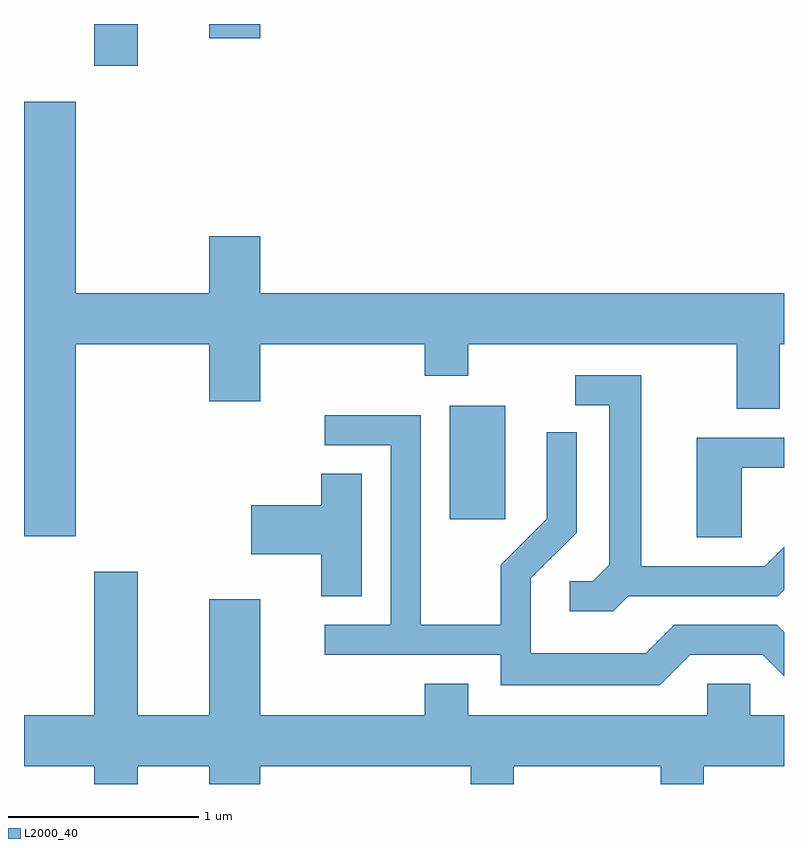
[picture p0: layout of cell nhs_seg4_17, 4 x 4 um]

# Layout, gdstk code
import gdstk
lib = gdstk.Library(unit=1e-6, precision=1e-09)
def R(c, l, rs):  # rectangles x0, y0, x1, y1
    for r in rs: c.add(gdstk.rectangle(r[:2], r[2:], *l))
def P(c, l, *ps):  # polygons
    for p in ps: c.add(gdstk.Polygon(p, *l))
L2000_40 = (2000, 40)

nhs_seg4_17 = lib.new_cell('nhs_seg4_17')
R(nhs_seg4_17, L2000_40, [(187.851,1289.376,188.144,1289.974), (185.981,1291.761,186.209,1291.982), (186.586,1291.906,186.854,1291.982)])
P(nhs_seg4_17, L2000_40, [(185.884,1290.296),(186.586,1290.296),(186.586,1289.996),(186.854,1289.996),(186.854,1290.296),(187.721,1290.296),(187.721,1290.131),(187.949,1290.131),(187.949,1290.296),(189.361,1290.296),(189.361,1289.956),(189.589,1289.956),(189.589,1290.296),(189.611,1290.296),(189.611,1290.564),(186.854,1290.564),(186.854,1290.864),(186.586,1290.864),(186.586,1290.564),(185.884,1290.564),(185.884,1291.574),(185.611,1291.574),(185.611,1289.286),(185.884,1289.286)],
  [(188.792,1288.971),(189.577,1288.971),(189.611,1289.005),(189.611,1289.232),(189.509,1289.129),(188.859,1289.129),(188.859,1290.134),(188.513,1290.134),(188.513,1289.976),(188.691,1289.976),(188.691,1289.137),(188.604,1289.049),(188.483,1289.049),(188.483,1288.891),(188.712,1288.891)],
  [(189.117,1288.661),(189.499,1288.661),(189.611,1288.549),(189.611,1288.78),(189.572,1288.819),(189.034,1288.819),(188.884,1288.669),(188.279,1288.669),(188.279,1289.064),(188.519,1289.304),(188.519,1289.833),(188.361,1289.833),(188.361,1289.377),(188.121,1289.137),(188.121,1288.819),(187.699,1288.819),(187.699,1289.924),(187.193,1289.924),(187.193,1289.766),(187.541,1289.766),(187.541,1288.819),(187.193,1288.819),(187.193,1288.661),(188.121,1288.661),(188.121,1288.501),(188.957,1288.501)],
  [(189.389,1289.646),(189.611,1289.646),(189.611,1289.804),(189.151,1289.804),(189.151,1289.281),(189.389,1289.281)],
  [(187.389,1289.614),(187.176,1289.614),(187.176,1289.449),(186.806,1289.449),(186.806,1289.191),(187.176,1289.191),(187.176,1288.971),(187.389,1288.971)],
  [(186.209,1288.076),(186.586,1288.076),(186.586,1287.982),(186.854,1287.982),(186.854,1288.076),(187.961,1288.076),(187.961,1287.982),(188.189,1287.982),(188.189,1288.076),(188.961,1288.076),(188.961,1287.982),(189.189,1287.982),(189.189,1288.076),(189.611,1288.076),(189.611,1288.344),(189.434,1288.344),(189.434,1288.509),(189.206,1288.509),(189.206,1288.344),(187.949,1288.344),(187.949,1288.509),(187.721,1288.509),(187.721,1288.344),(186.854,1288.344),(186.854,1288.954),(186.586,1288.954),(186.586,1288.344),(186.209,1288.344),(186.209,1289.099),(185.981,1289.099),(185.981,1288.344),(185.611,1288.344),(185.611,1288.076),(185.981,1288.076),(185.981,1287.982),(186.209,1287.982)])

lib.write_gds('nhs_seg4_17.gds')
